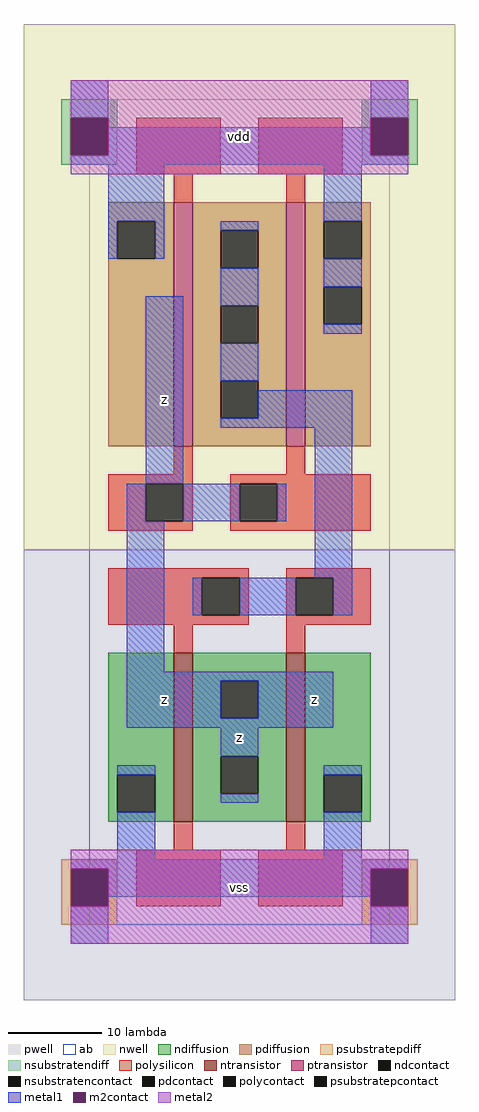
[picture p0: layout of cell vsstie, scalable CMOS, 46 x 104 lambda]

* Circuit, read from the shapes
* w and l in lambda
.subckt vsstie vdd vss z
M1 z n1 vss vss nfet w=18 l=2 m=2
M2 n1 z vdd vdd pfet w=26 l=2 m=2
.ends

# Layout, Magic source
magic
tech scmos
<< ab >>
rect 0 0 32 88
<< pwell >>
rect -7 -8 39 40
<< nwell >>
rect -7 40 39 96
<< polysilicon >>
rect 5 80 14 86
rect 18 80 27 86
rect 9 77 11 80
rect 21 77 23 80
rect 9 48 11 51
rect 21 48 23 51
rect 2 47 11 48
rect 2 43 6 47
rect 10 43 11 47
rect 2 42 11 43
rect 15 47 30 48
rect 15 43 16 47
rect 20 43 30 47
rect 15 42 30 43
rect 2 37 17 38
rect 2 33 12 37
rect 16 33 17 37
rect 2 32 17 33
rect 21 37 30 38
rect 21 33 22 37
rect 26 33 30 37
rect 21 32 30 33
rect 9 29 11 32
rect 21 29 23 32
rect 9 8 11 11
rect 21 8 23 11
rect 5 2 14 8
rect 18 2 27 8
<< ndiffusion >>
rect 2 16 9 29
rect 2 12 3 16
rect 7 12 9 16
rect 2 11 9 12
rect 11 26 21 29
rect 11 22 14 26
rect 18 22 21 26
rect 11 18 21 22
rect 11 14 14 18
rect 18 14 21 18
rect 11 11 21 14
rect 23 16 30 29
rect 23 12 25 16
rect 29 12 30 16
rect 23 11 30 12
<< pdiffusion >>
rect 2 75 9 77
rect 2 71 3 75
rect 7 71 9 75
rect 2 51 9 71
rect 11 74 21 77
rect 11 70 14 74
rect 18 70 21 74
rect 11 66 21 70
rect 11 62 14 66
rect 18 62 21 66
rect 11 58 21 62
rect 11 54 14 58
rect 18 54 21 58
rect 11 51 21 54
rect 23 75 30 77
rect 23 71 25 75
rect 29 71 30 75
rect 23 68 30 71
rect 23 64 25 68
rect 29 64 30 68
rect 23 51 30 64
<< metal1 >>
rect -2 86 2 90
rect 30 86 34 90
rect 2 82 30 85
rect -2 81 34 82
rect 2 75 8 81
rect 25 75 29 81
rect 2 71 3 75
rect 7 71 8 75
rect 14 74 18 75
rect 6 47 10 67
rect 14 66 18 70
rect 25 68 29 71
rect 25 63 29 64
rect 14 58 18 62
rect 18 54 28 57
rect 14 53 28 54
rect 4 43 6 47
rect 10 43 16 47
rect 20 43 21 47
rect 4 27 8 43
rect 24 37 28 53
rect 11 33 12 37
rect 16 33 22 37
rect 26 33 28 37
rect 4 26 26 27
rect 4 22 14 26
rect 18 22 26 26
rect 4 21 26 22
rect 14 18 18 21
rect 3 16 7 17
rect 14 13 18 14
rect 25 16 29 17
rect 3 7 7 12
rect 25 7 29 12
rect -2 6 34 7
rect 2 3 30 6
rect -2 -2 2 2
rect 30 -2 34 2
<< metal2 >>
rect -2 86 34 90
rect 2 82 30 86
rect -2 80 34 82
rect -2 6 34 8
rect 2 2 30 6
rect -2 -2 34 2
<< ntransistor >>
rect 9 11 11 29
rect 21 11 23 29
<< ptransistor >>
rect 9 51 11 77
rect 21 51 23 77
<< polycontact >>
rect 6 43 10 47
rect 16 43 20 47
rect 12 33 16 37
rect 22 33 26 37
<< ndcontact >>
rect 3 12 7 16
rect 14 22 18 26
rect 14 14 18 18
rect 25 12 29 16
<< pdcontact >>
rect 3 71 7 75
rect 14 70 18 74
rect 14 62 18 66
rect 14 54 18 58
rect 25 71 29 75
rect 25 64 29 68
<< m2contact >>
rect -2 82 2 86
rect 30 82 34 86
rect -2 2 2 6
rect 30 2 34 6
<< psubstratepcontact >>
rect -2 2 2 6
rect 30 2 34 6
<< nsubstratencontact >>
rect -2 82 2 86
rect 30 82 34 86
<< psubstratepdiff >>
rect -3 6 3 7
rect -3 2 -2 6
rect 2 2 3 6
rect 29 6 35 7
rect 29 2 30 6
rect 34 2 35 6
rect -3 0 3 2
rect 29 0 35 2
<< nsubstratendiff >>
rect -3 86 3 88
rect 29 86 35 88
rect -3 82 -2 86
rect 2 82 3 86
rect -3 81 3 82
rect 29 82 30 86
rect 34 82 35 86
rect 29 81 35 82
<< labels >>
rlabel metal1 8 24 8 24 6 z
rlabel metal1 8 56 8 56 6 z
rlabel metal1 16 20 16 20 6 z
rlabel metal1 24 24 24 24 6 z
rlabel metal2 16 4 16 4 6 vss
rlabel metal2 16 84 16 84 6 vdd
<< end >>
